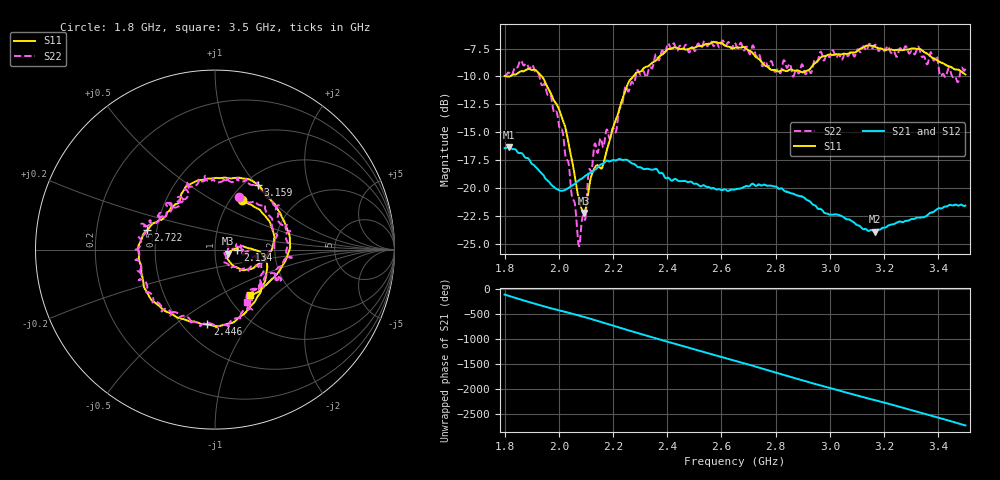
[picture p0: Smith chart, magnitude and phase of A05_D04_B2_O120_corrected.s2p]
! Created with skrf 1.9.0 (http://scikit-rf.org).
# Hz S RI R 50.0
!freq ReS11 ImS11 ReS21 ImS21 ReS12 ImS12 ReS22 ImS22
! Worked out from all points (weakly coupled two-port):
!   1601 points, 1.8 GHz to 3.5 GHz, reference 50 ohm
!   highest |S21| = -16.37 dB at 1.817 GHz (marker M1); lowest = -23.9 dB at 3.165 GHz (marker M2)
!   lowest |S11| = -22.3 dB at 2.092 GHz (marker M3), VSWR 1.17, Z = 57.9 - j2.72 ohm
!   |S11| at or under -10 dB: 1.808 GHz to 1.819 GHz (10.78 MHz wide, 0.594 % of centre); 1.938 GHz to 2.275 GHz (337.1 MHz wide, 16 % of centre)
!   |S22| runs from -25.2 to -6.8 dB; largest |S21 - S12| = 0.0024
!   S11 on the Smith chart (normalised r, x): 1.8 GHz: 1.13, +0.70; 2.134 GHz: 1.28, +0.00; 2.446 GHz: 0.65, -0.66; 2.722 GHz: 0.44, +0.11; 3.159 GHz: 1.15, +1.02; 3.5 GHz: 1.26, -0.72
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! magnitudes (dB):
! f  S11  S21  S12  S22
! 1.8 GHz  -10.0  -16.4  -16.4  -9.9
! 1.817 GHz  -10.0  -16.4  -16.4  -9.7
! 1.903 GHz  -9.4  -17.9  -17.9  -9.0
! 1.968 GHz  -11.4  -19.6  -19.6  -11.6
! 2.015 GHz  -13.9  -20.2  -20.3  -15.0
! 2.072 GHz  -20.8  -19.4  -19.4  -25.0
! 2.084 GHz  -21.9  -19.2  -19.1  -23.2
! 2.092 GHz  -22.3  -19.0  -19.1  -22.6
! 2.134 GHz  -18.1  -18.4  -18.3  -16.0
! 2.163 GHz  -17.9  -17.8  -17.8  -16.4
! 2.26 GHz  -10.4  -17.6  -17.6  -11.2
! 2.367 GHz  -8.3  -18.5  -18.5  -8.5
! 2.446 GHz  -7.6  -19.4  -19.4  -7.2
! 2.65 GHz  -7.4  -20.1  -20.1  -7.0
! 2.722 GHz  -8.1  -19.7  -19.7  -7.7
! 2.803 GHz  -9.5  -19.9  -19.9  -9.5
! 2.934 GHz  -9.1  -21.4  -21.4  -9.5
! 3.159 GHz  -7.3  -23.9  -23.8  -7.5
! 3.165 GHz  -7.3  -23.9  -23.9  -7.2
! 3.217 GHz  -7.6  -23.4  -23.3  -7.4
! 3.468 GHz  -9.4  -21.5  -21.5  -10.4
! 3.5 GHz  -9.8  -21.6  -21.6  -9.3
